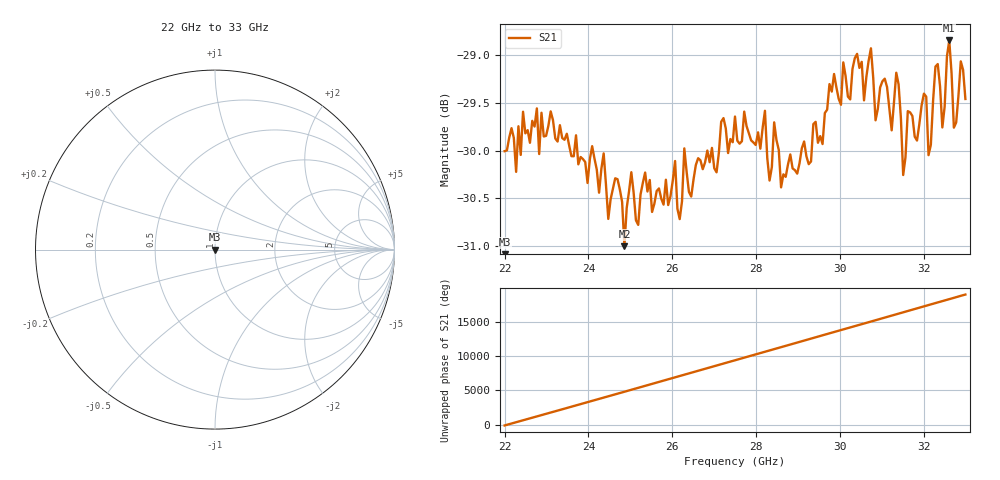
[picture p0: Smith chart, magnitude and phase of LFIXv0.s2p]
!Keysight Technologies,N5224B,MY57181201,A.12.70.07
!Date: Thursday, July 14, 2022 12:59:09
!Correction: S11(Off)
!S21(Off)
!S12(Off)
!S22(Off)
!S2P File: Measurements: S11, S21, S12, S22:
# Hz S  dB  R 50
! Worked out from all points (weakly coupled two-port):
!   201 points, 22 GHz to 33 GHz, reference 50 ohm
!   highest |S21| = -28.85 dB at 32.62 GHz (marker M1); lowest = -31.0 dB at 24.86 GHz (marker M2)
!   lowest |S11| = - dB at 22 GHz (marker M3), VSWR 1.00, Z = 50 + j7.07e-09 ohm
!   |S11| at or under -10 dB: start of sweep to end of sweep
!   S12 and S22 are empty: the file has one direction only
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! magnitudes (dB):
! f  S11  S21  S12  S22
! 22 GHz  -  -30.0  -  -
! 23.87 GHz  -  -30.1  -  -
! 24.7 GHz  -  -30.3  -  -
! 24.86 GHz  -  -31.0  -  -
! 25.02 GHz  -  -30.2  -  -
! 25.68 GHz  -  -30.4  -  -
! 27.5 GHz  -  -29.6  -  -
! 28.21 GHz  -  -29.6  -  -
! 28.32 GHz  -  -30.3  -  -
! 28.43 GHz  -  -29.7  -  -
! 28.6 GHz  -  -30.4  -  -
! 29.37 GHz  -  -29.7  -  -
! 30.75 GHz  -  -28.9  -  -
! 30.86 GHz  -  -29.7  -  -
! 31.18 GHz  -  -29.6  -  -
! 31.35 GHz  -  -29.2  -  -
! 31.52 GHz  -  -30.3  -  -
! 32.01 GHz  -  -29.4  -  -
! 32.12 GHz  -  -30.0  -  -
! 32.62 GHz  -  -28.9  -  -
! 32.73 GHz  -  -29.8  -  -
! 33 GHz  -  -29.5  -  -
